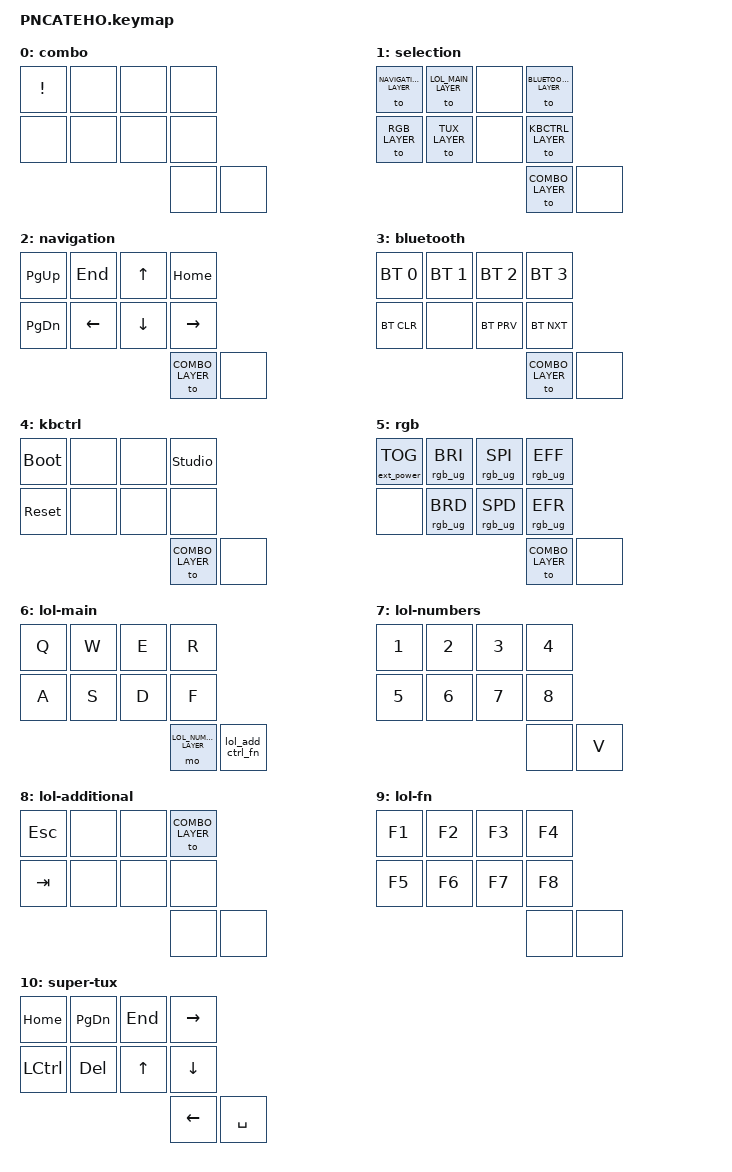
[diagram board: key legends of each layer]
/*
 * Copyright (c) 2020 The ZMK Contributors
 *
 * SPDX-License-Identifier: MIT
 */

#include <behaviors.dtsi>
#include <dt-bindings/zmk/bt.h>
#include <dt-bindings/zmk/ext_power.h>
#include <dt-bindings/zmk/keys.h>
#include <dt-bindings/zmk/rgb.h>

// CONFIG

#define COMBO_TIMEOUT 70
#define COMBO_LAYER 0
#define SELECTION_LAYER 1
#define NAVIGATION_LAYER 2
#define BLUETOOTH_LAYER 3
#define KBCTRL_LAYER 4
#define RGB_LAYER 5
#define LOL_MAIN_LAYER 6
#define LOL_NUMBERS_LAYER 7
#define LOL_ADDITIONAL_LAYER 8
#define LOL_FN_LAYER 9
#define TUX_LAYER 10
#define STICKY_TIMEOUT 500

// SWITCHES

#define SN 0  // TOP
#define SA 1  // TOP
#define SE 2  // TOP
#define SO 3  // TOP
#define SP 4  // BOTTOM
#define SC 5  // BOTTOM
#define ST 6  // BOTTOM
#define SH 7  // BOTTOM
#define SOT 8 // O-THUMB
#define SIT 9 // I-THUMB

&sk {
    release-after-ms = <STICKY_TIMEOUT>;
    quick-release;
};

/ {
    combos {
        compatible = "zmk,combos";

        combo_l_space {
            timeout-ms = <COMBO_TIMEOUT>;
            bindings = <&kp SPACE>;
            key-positions = <SIT>;
            layers = <COMBO_LAYER>;
        };

        combo_l_bspc {
            timeout-ms = <COMBO_TIMEOUT>;
            bindings = <&kp BSPC>;
            key-positions = <SOT>;
            layers = <COMBO_LAYER>;
        };

        #include "PNCATEHO-chords.dtsi"
    };

    behaviors {
        lol_add_ctrl_fn: lol_add_ctrl_fn {
            compatible = "zmk,behavior-tap-dance";
            #binding-cells = <0>;
            tapping-term-ms = <200>;
            bindings =
                <&mo LOL_ADDITIONAL_LAYER>,
                <&kp LCTRL>,
                <&mo LOL_FN_LAYER>;
        };
    };

    keymap {
        compatible = "zmk,keymap";

        combo_layer {
            display-name = "combo";
            bindings = <
&kp EXCLAMATION  &none  &none  &none
&none            &none  &none  &none
                               &none  &none
            >;
        };

        selection_layer {
            display-name = "selection";
            bindings = <
&to NAVIGATION_LAYER  &to LOL_MAIN_LAYER  &none  &to BLUETOOTH_LAYER
&to RGB_LAYER         &to TUX_LAYER       &none  &to KBCTRL_LAYER
                                                 &to COMBO_LAYER      &none
            >;
        };

        navigation_layer {
            display-name = "navigation";
            bindings = <
&kp PG_UP  &kp END   &kp UP    &kp HOME
&kp PG_DN  &kp LEFT  &kp DOWN  &kp RIGHT
                               &to COMBO_LAYER  &none
            >;
        };

        bluetooth_layer {
            display-name = "bluetooth";
            bindings = <
&bt BT_SEL 0  &bt BT_SEL 1  &bt BT_SEL 2  &bt BT_SEL 3
&bt BT_CLR    &none         &bt BT_PRV    &bt BT_NXT
                                          &to COMBO_LAYER  &none
            >;
        };

        kbctrl_layer {
            display-name = "kbctrl";
            bindings = <
&bootloader  &none  &none  &studio_unlock
&sys_reset   &none  &none  &none
                           &to COMBO_LAYER  &none
            >;
        };

        rgb_layer {
            display-name = "rgb";
            bindings = <
&ext_power EP_TOG  &rgb_ug RGB_BRI  &rgb_ug RGB_SPI  &rgb_ug RGB_EFF
&none              &rgb_ug RGB_BRD  &rgb_ug RGB_SPD  &rgb_ug RGB_EFR
                                                     &to COMBO_LAYER  &none
            >;
        };

        lol_main_layer {
            display-name = "lol-main";
            bindings = <
&kp Q  &kp W  &kp E  &kp R
&kp A  &kp S  &kp D  &kp F
                     &mo LOL_NUMBERS_LAYER  &lol_add_ctrl_fn
            >;
        };

        lol_numbers_layer {
            display-name = "lol-numbers";
            bindings = <
&kp NUMBER_1  &kp NUMBER_2  &kp NUMBER_3  &kp NUMBER_4
&kp NUMBER_5  &kp NUMBER_6  &kp NUMBER_7  &kp NUMBER_8
                                          &none         &kp V
            >;
        };

        lol_additional_layer {
            display-name = "lol-additional";
            bindings = <
&kp ESC  &none  &none  &to COMBO_LAYER
&kp TAB  &none  &none  &none
                       &none            &none
            >;
        };

        lol_fn_layer {
            display-name = "lol-fn";
            bindings = <
&kp F1  &kp F2  &kp F3  &kp F4
&kp F5  &kp F6  &kp F7  &kp F8
                        &none   &none
            >;
        };

        super_tux {
	    display-name = "super-tux";
            bindings = <
&kp HOME   &kp PAGE_DOWN  &kp END  &kp RIGHT
&kp LCTRL  &kp DELETE     &kp UP   &kp DOWN
                                   &kp LEFT   &kp SPACE
            >;
        };
    };
};
